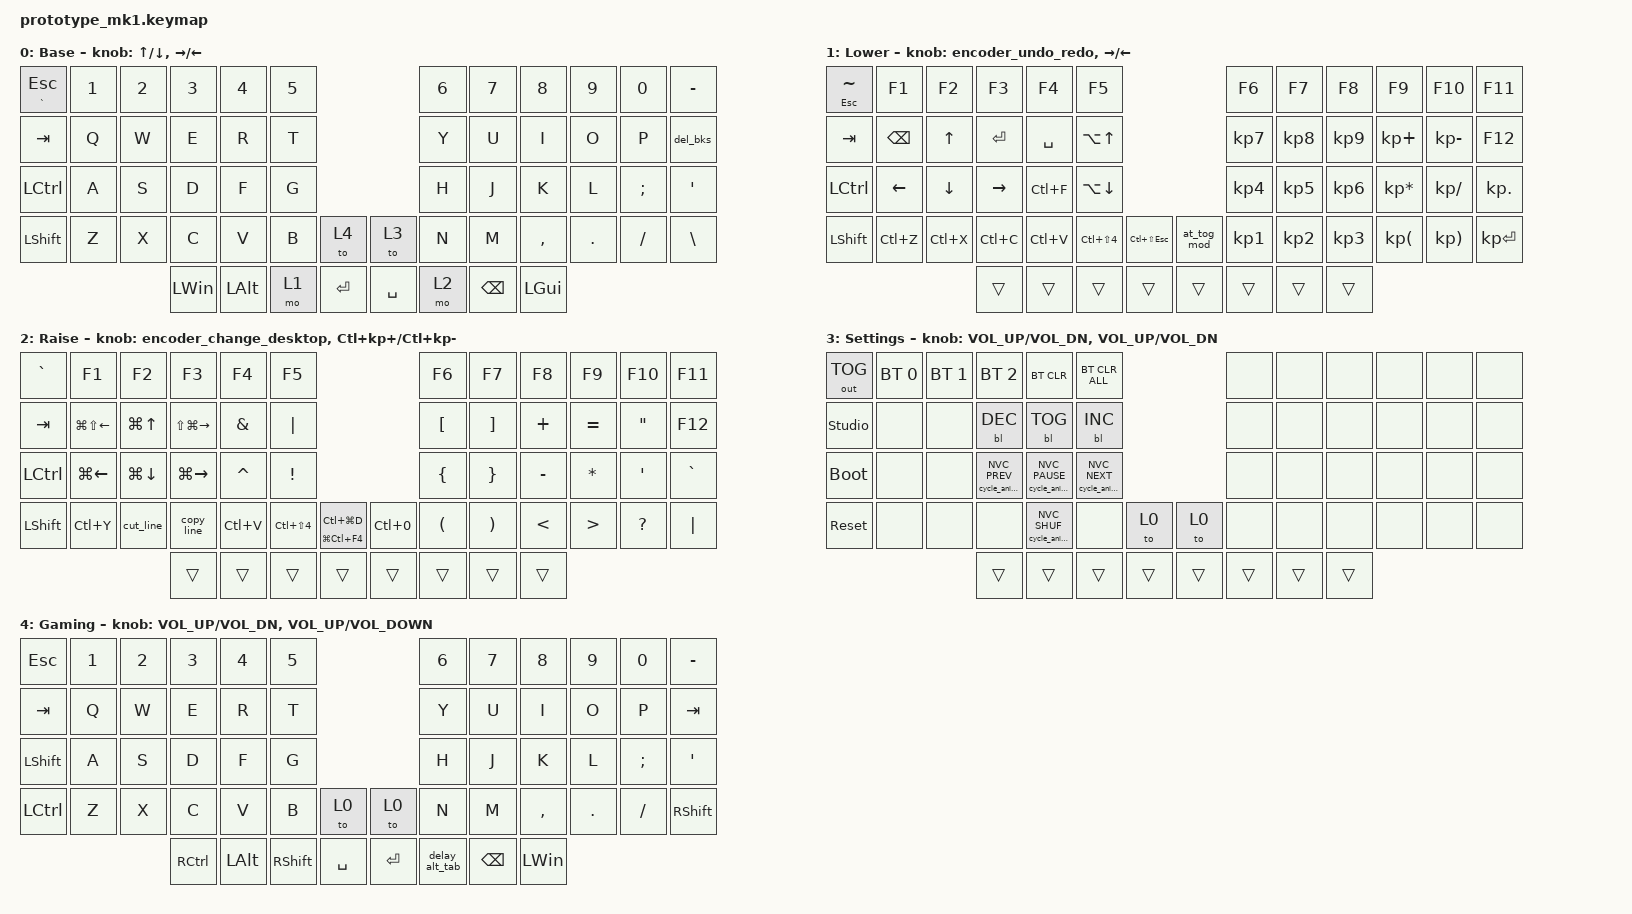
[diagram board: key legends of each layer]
/*
 * Copyright (c) 2020 The ZMK Contributors
 *
 * SPDX-License-Identifier: MIT
 */

#include <behaviors.dtsi>
#include <dt-bindings/zmk/backlight.h>
#include <dt-bindings/zmk/bt.h>
#include <dt-bindings/zmk/keys.h>
#include <dt-bindings/zmk/outputs.h>

#define BASE 0
#define LOWER 1
#define RAISE 2
#define SETTINGS 3
#define GAMES 4

// nice!view animation hotkey params (cycle_animation behavior)

#define NVC_PAUSE 0
#define NVC_NEXT  1
#define NVC_PREV  2
#define NVC_SHUF  3

/ {
    // Activate ADJUST layer by pressing raise and lower

    conditional_layers {
        compatible = "zmk,conditional-layers";

        condition_settings {
            if-layers = <1 2>;
            then-layer = <3>;
        };
    };

    behaviors {
        // nice!view theme control: NVC_NEXT/PREV cycle themes, NVC_PAUSE plays/stops, NVC_SHUF rerolls the frame
        // node name <= 8 chars (BLE split relay truncates behavior names)

        cycle_animation: nvcycle {
            compatible = "zmk,behavior-cycle-animation";
            display-name = "NV Anim";
            #binding-cells = <1>;
        };

        hold_esc: hold_esc {
            compatible = "zmk,behavior-hold-tap";
            display-name = "HoldEsc";
            label = "HOLD_ESC";
            bindings = <&kp>, <&kp>;

            #binding-cells = <2>;
            flavor = "tap-preferred";
            tapping-term-ms = <150>;
        };

        shift_capslock: shift_capslock {
            compatible = "zmk,behavior-tap-dance";
            display-name = "Sft/Cap";
            label = "SHIFT_CAPSLOCK";
            #binding-cells = <0>;
            bindings = <&sk RIGHT_SHIFT>, <&caps_word>;

            tapping-term-ms = <250>;
        };

        encoder_undo_redo: encoder_undo_redo {
            compatible = "zmk,behavior-sensor-rotate";
            label = "ENCODER_UNDO_REDO";
            #sensor-binding-cells = <0>;
            bindings = <&kp LC(Z)>, <&kp LC(Y)>;
        };

        desktop_create_destroy: desktop_create_destroy {
            compatible = "zmk,behavior-hold-tap";
            display-name = "Desk+-";
            label = "DESKTOP_CREATE_DESTROY";
            bindings = <&kp>, <&kp>;

            #binding-cells = <2>;
            flavor = "tap-preferred";
            tapping-term-ms = <250>;
        };

        encoder_change_desktop: encoder_change_desktop {
            compatible = "zmk,behavior-sensor-rotate";
            label = "ENCODER_CHANGE_DESKTOP";
            #sensor-binding-cells = <0>;
            bindings = <&kp LC(LG(RIGHT))>, <&kp LG(LC(LEFT))>;
        };

        at_tog_mod: at_tog_mod {
            compatible = "zmk,behavior-mod-morph";
            display-name = "AltTab";
            label = "AT_TOG_MOD";
            bindings = <&alt_tab_init>, <&kt LEFT_ALT>;

            #binding-cells = <0>;
            mods = <(MOD_RALT|MOD_LALT)>;
        };

        del_bks: del_bks {
            compatible = "zmk,behavior-mod-morph";
            display-name = "Del/Bks";
            label = "DEL_BKS";
            #binding-cells = <0>;
            mods = <(MOD_LSFT|MOD_RSFT)>;
            bindings = <&kp DELETE>, <&kp BACKSPACE>;
        };

        bks_del: bks_del {
            compatible = "zmk,behavior-mod-morph";
            display-name = "Bks/Del";
            label = "BKS_DEL";
            bindings = <&kp BACKSPACE>, <&kp DELETE>;

            #binding-cells = <0>;
            mods = <(MOD_RSFT|MOD_LSFT)>;
        };
    };

    macros {
        alt_tab_init: alt_tab_init {
            compatible = "zmk,behavior-macro";
            display-name = "ATabIni";
            #binding-cells = <0>;
            bindings = <&kt LEFT_ALT &kp TAB &kp LEFT>;
            label = "ALT_TAB_INIT";
        };

        copy_line: copy_line {
            compatible = "zmk,behavior-macro";
            display-name = "CpyLn";
            #binding-cells = <0>;
            bindings = <&kp END &kp LS(HOME) &kp LC(C)>;
            label = "COPY_LINE";
        };

        cut_line: cut_line {
            compatible = "zmk,behavior-macro";
            display-name = "CutLn";
            #binding-cells = <0>;
            bindings = <&kp END &kp LS(HOME) &kp LC(X)>;
            label = "CUT_LINE";
        };

        delay_alt_tab: delay_alt_tab {
            compatible = "zmk,behavior-macro";
            display-name = "AltTabD";
            #binding-cells = <0>;
            bindings = <&kp LA(TAB)>;
            label = "DELAY_ALT_TAB";
            wait-ms = <100>;
        };

        binary_and: binary_and {
            compatible = "zmk,behavior-macro";
            display-name = "&&";
            #binding-cells = <0>;
            bindings = <&kp AMPS &kp AMPS>;
            label = "&&";
        };

        binary_or: binary_or {
            compatible = "zmk,behavior-macro";
            display-name = "||";
            #binding-cells = <0>;
            bindings = <&kp PIPE &kp PIPE>;
            label = "||";
        };
    };

    // dongle PAD screen bindings (cells 0,2,3,4,5): terminal / task mgr / browser / desktop / notes

    touch_pad {
        compatible = "zmk,prospector-touch-pad";
        bindings = <&kp LG(N1) &kp LC(LS(ESCAPE)) &kp C_AL_WWW &kp LG(D) &kp LG(N3)>;
    };

    keymap {
        compatible = "zmk,keymap";

        default_layer {
            display-name = "Base";
            bindings = <
&hold_esc GRAVE ESCAPE  &kp N1  &kp N2  &kp N3        &kp N4        &kp N5                        &kp N6  &kp N7         &kp N8        &kp N9   &kp N0    &kp MINUS
&kp TAB                 &kp Q   &kp W   &kp E         &kp R         &kp T                         &kp Y   &kp U          &kp I         &kp O    &kp P     &del_bks
&kp LEFT_CONTROL        &kp A   &kp S   &kp D         &kp F         &kp G                         &kp H   &kp J          &kp K         &kp L    &kp SEMI  &kp SQT
&kp LSHIFT              &kp Z   &kp X   &kp C         &kp V         &kp B   &to 4      &to 3      &kp N   &kp M          &kp COMMA     &kp DOT  &kp FSLH  &kp BACKSLASH
                                        &kp LEFT_WIN  &kp LEFT_ALT  &mo 1   &kp ENTER  &kp SPACE  &mo 2   &kp BACKSPACE  &kp LEFT_GUI
            >;

            sensor-bindings =
                <&inc_dec_kp UP_ARROW DOWN_ARROW>,
                <&inc_dec_kp RIGHT_ARROW LEFT_ARROW>;

            label = "BASE";
        };

        layer_lower {
            display-name = "Lower";
            bindings = <
&hold_esc ESCAPE TILDE  &kp F1          &kp F2          &kp F3           &kp F4     &kp F5                                                 &kp F6     &kp F7     &kp F8     &kp F9                   &kp F10                   &kp F11
&kp TAB                 &kp BACKSPACE   &kp UP_ARROW    &kp ENTER        &kp SPACE  &kp LA(UP_ARROW)                                       &kp KP_N7  &kp KP_N8  &kp KP_N9  &kp KP_PLUS              &kp KP_MINUS              &kp F12
&kp LEFT_CONTROL        &kp LEFT_ARROW  &kp DOWN_ARROW  &kp RIGHT_ARROW  &kp LC(F)  &kp LA(DOWN_ARROW)                                     &kp KP_N4  &kp KP_N5  &kp KP_N6  &kp KP_MULTIPLY          &kp KP_DIVIDE             &kp KP_DOT
&kp LSHIFT              &kp LC(Z)       &kp LC(X)       &kp LC(C)        &kp LC(V)  &kp LC(LS(NUMBER_4))  &kp LC(LS(ESCAPE))  &at_tog_mod  &kp KP_N1  &kp KP_N2  &kp KP_N3  &kp KP_LEFT_PARENTHESIS  &kp KP_RIGHT_PARENTHESIS  &kp KP_ENTER
                                                        &trans           &trans     &trans                &trans              &trans       &trans     &trans     &trans
            >;

            sensor-bindings = <&encoder_undo_redo>, <&inc_dec_kp RIGHT LEFT>;

            label = "LOWER";
        };

        layer_upper {
            display-name = "Raise";
            bindings = <
&kp GRAVE         &kp F1              &kp F2              &kp F3               &kp F4         &kp F5                                                                          &kp F6                &kp F7                 &kp F8         &kp F9            &kp F10            &kp F11
&kp TAB           &kp LG(LS(LEFT))    &kp LG(UP_ARROW)    &kp LS(LG(RIGHT))    &kp AMPERSAND  &kp PIPE                                                                        &kp LEFT_BRACKET      &kp RIGHT_BRACKET      &kp PLUS       &kp EQUAL         &kp DOUBLE_QUOTES  &kp F12
&kp LEFT_CONTROL  &kp LG(LEFT_ARROW)  &kp LG(DOWN_ARROW)  &kp LG(RIGHT_ARROW)  &kp CARET      &kp EXCL                                                                        &kp LEFT_BRACE        &kp RIGHT_BRACE        &kp MINUS      &kp ASTRK         &kp SINGLE_QUOTE   &kp GRAVE
&kp LSHIFT        &kp LC(Y)           &cut_line           &copy_line           &kp LC(V)      &kp LC(LS(NUMBER_4))  &desktop_create_destroy LG(LC(F4)) LC(LG(D))  &kp LC(N0)  &kp LEFT_PARENTHESIS  &kp RIGHT_PARENTHESIS  &kp LESS_THAN  &kp GREATER_THAN  &kp QUESTION       &kp PIPE
                                                          &trans               &trans         &trans                &trans                                        &trans      &trans                &trans                 &trans
            >;

            sensor-bindings =
                <&encoder_change_desktop>,
                <&inc_dec_kp LC(KP_PLUS) LC(KP_MINUS)>;

            label = "RAISE";
        };

        layer_settings {
            display-name = "Settings";
            bindings = <
&out OUT_TOG    &bt BT_SEL 0  &bt BT_SEL 1  &bt BT_SEL 2               &bt BT_CLR                  &bt BT_CLR_ALL                             &none   &none   &none   &none  &none  &none
&studio_unlock  &none         &none         &bl BL_DEC                 &bl BL_TOG                  &bl BL_INC                                 &none   &none   &none   &none  &none  &none
&bootloader     &none         &none         &cycle_animation NVC_PREV  &cycle_animation NVC_PAUSE  &cycle_animation NVC_NEXT                  &none   &none   &none   &none  &none  &none
&sys_reset      &none         &none         &none                      &cycle_animation NVC_SHUF   &none                      &to 0   &to 0   &none   &none   &none   &none  &none  &none
                                            &trans                     &trans                      &trans                     &trans  &trans  &trans  &trans  &trans
            >;

            sensor-bindings =
                <&inc_dec_kp C_VOLUME_UP C_VOL_DN>,
                <&inc_dec_kp C_VOLUME_UP C_VOL_DN>;

            label = "SETTINGS";
        };

        layer_gaming {
            display-name = "Gaming";
            bindings = <
&kp ESCAPE        &kp N1  &kp N2  &kp N3             &kp N4        &kp N5                                 &kp N6          &kp N7         &kp N8        &kp N9   &kp N0         &kp MINUS
&kp TAB           &kp Q   &kp W   &kp E              &kp R         &kp T                                  &kp Y           &kp U          &kp I         &kp O    &kp P          &kp TAB
&kp LSHFT         &kp A   &kp S   &kp D              &kp F         &kp G                                  &kp H           &kp J          &kp K         &kp L    &kp SEMICOLON  &kp SINGLE_QUOTE
&kp LEFT_CONTROL  &kp Z   &kp X   &kp C              &kp V         &kp B            &to 0      &to 0      &kp N           &kp M          &kp COMMA     &kp DOT  &kp FSLH       &kp RSHFT
                                  &kp RIGHT_CONTROL  &kp LEFT_ALT  &kp RIGHT_SHIFT  &kp SPACE  &kp ENTER  &delay_alt_tab  &kp BACKSPACE  &kp LEFT_WIN
            >;

            sensor-bindings =
                <&inc_dec_kp C_VOLUME_UP C_VOL_DN>,
                <&inc_dec_kp C_VOLUME_UP C_VOLUME_DOWN>;

            label = "GAMES";
        };
    };
};
